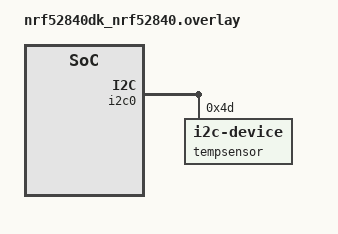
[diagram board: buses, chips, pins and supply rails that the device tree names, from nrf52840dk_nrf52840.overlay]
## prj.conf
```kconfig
CONFIG_CONSOLE=y
CONFIG_UART_CONSOLE=y
CONFIG_PRINTK=y
CONFIG_GPIO=y
CONFIG_I2C=y
CONFIG_CBPRINTF_FP_SUPPORT=y
CONFIG_TIMING_FUNCTIONS=y
CONFIG_SERIAL=y
CONFIG_UART_ASYNC_API=y
```

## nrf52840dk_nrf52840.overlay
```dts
// To get started, press Ctrl+Space to bring up the completion menu and view the available nodes.

// You can also use the buttons in the sidebar to perform actions on nodes.
// Actions currently available include:

// * Enabling / disabling the node
// * Adding the bus to a bus
// * Removing the node
// * Connecting ADC channels

// For more help, browse the DeviceTree documentation at https://docs.zephyrproject.org/latest/guides/dts/index.html
// You can also visit the nRF DeviceTree extension documentation at https://nrfconnect.github.io/vscode-nrf-connect/devicetree/nrfdevicetree.html


// end do tc74 -> 100 1101b 
/*
&i2c0 {
    tempsensor: tempsensor@4d{
        compatible = "i2c-device";
        reg = < 0x4d >;
        label = "TempSensor";
    };S
};*/
&i2c0 {  
    tempsensor: tempsensor@4d{
        compatible = "i2c-device";
        reg = < 0x4d >;
        label = "tempsensor";
    };
};
```

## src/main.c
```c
/** \file main.c
 *  \brief Implementaçao de um modulo simples de Input/Output sensor/atuador com envio
 * 	de comandos pela UART 
 * 
 * 
 *  O sistema implementa 5 Input, valor de tempearatura obtido através do sensor tc74 através de comunicaçao i2c com o mesmo e 4 butoes da placa 
 *  que permite ler o estado em que cada butao se encontra. Para a obtençao destes valores foram implementadas 2 threads periodicas, 
 *  1 para temperatura e outra para os butoes, que irão periodicamento ler o valor de cada intput.
 *  O sistema tem 4 saídas e para a alteraçao das saídas foi implementada 1 thread periodica que ira atribuir a cada saida um estado que eta  guardado numa variavel.
 *  Também foi implementado um comunicaçao via uart para a inserçao de comandos para alteraçao dos periodos de cada thread, comando do tipo #TXYYYY! ou #tXYYY!,
 *  onde X pode ser T/t para thread temperartura, L/t para thread leds ou B/b para thread butoes e YYYY sao qutro digitos de tempo em ms.
 *  e alteraçao do estado dos leds, comando do tipo #Lxy! ou #lxy! , em que é o led que pretendemos alterar estado e y o estado.
 *  
 * 
 * Base documentation:
 *  Zephyr kernel:  
 *      https://developer.nordicsemi.com/nRF_Connect_SDK/doc/latest/zephyr/kernel/services/index.html#kernel-services
 *      
 *  DeviceTree 
 *      Board DTS can be found in BUILD_DIR/zephyr/zephyr.dts
 *      https://developer.nordicsemi.com/nRF_Connect_SDK/doc/latest/zephyr/guides/dts/api-usage.html#dt-from-c  
 *
 *      HW info
 *      https://infocenter.nordicsemi.com/topic/struct_nrf52/struct/nrf52840.html
 *      Section: nRF52840 Product Specification -> Peripherals -> GPIO / GPIOTE
 * 
 *      Board specific HW info can be found in the nRF52840_DK_User_Guide_20201203. I/O pins available at pg 27
 * 
 * 
 *  \author Rodolfo Oliveira, NºMec: 88919
 *  \date 06/06/2023
 */
#include <zephyr/kernel.h>
#include <zephyr/device.h>
#include <zephyr/devicetree.h>
#include <zephyr/types.h>
#include <zephyr/drivers/gpio.h>
#include <zephyr/timing/timing.h>   /* for timing services */
#include <zephyr/drivers/uart.h>
#include <zephyr/drivers/i2c.h>
#include <zephyr/sys/printk.h>
#include <zephyr/sys/util.h>
#include <inttypes.h>


#define I2C0_NODE DT_NODELABEL(tempsensor)/**< definir o "node identifier" do sensor*/


#define mem_size 10/**< Numero de elementos de dados para guradar */


#define Receive_Buff_Size 10/**< Define the size of the UART receive buffer */

/*definir o tamanho da stcak e prioridade das threads*/
#define Stacksize 1024 /**< tamanho da stack da thread*/
#define thread_tempread_prio 3 /**< prioridade da thread tempread*/
#define thread_print_prio 3/**< prioridade da thread para print de valores*/
#define thread_but_prio 3/**< prioridade da thread dos butoes*/
#define thread_led_prio 3/**< prioridade da thread dos leds*/
#define thread_cmd_prio 4/**< prioridade da thread da cmd*/

// array com id dos butoes 
const uint8_t buttons_pins[] = { 11,12,24,25};
//array com id dos leds
const uint8_t leds_pins[] = { 13,14,15,16};


#define GPIO0_NODE DT_NODELABEL(gpio0)/**< Get node ID for GPIO0, which has leds and buttons */ 


static const struct device * gpio0_dev = DEVICE_DT_GET(GPIO0_NODE);/**< Now get the device pointer for GPIO0 */

/*definir periocidade das threads (em ms)*/
volatile int thread_tempread_period = 5000; /**< Periodo da thread tempread */
#define thread_print_period 1000 /**< periodo estatico da thread print de valores */
volatile int thread_but_period = 10;/**< periodo da thread dos butoes*/
volatile int thread_led_period = 1000;/**< periodo da thread dos leds*/
#define thread_cmd_period 1000/**< periodo estatico da thread dos comandos*/


/* criar espaço de memoria para cada thread*/
K_THREAD_STACK_DEFINE(thread_tempread_stack, Stacksize);/**< Criar espaço de memoria para a thread tempread*/
K_THREAD_STACK_DEFINE(thread_print_stack, Stacksize);/**< Criar espaço de memoria para a thread print*/
K_THREAD_STACK_DEFINE(thread_but_stack, Stacksize);/**< Criar espaço de memoria para a thread dos butoes*/
K_THREAD_STACK_DEFINE(thread_led_stack, Stacksize);/**< Criar espaço de memoria para a thread dos leds*/
K_THREAD_STACK_DEFINE(thread_cmd_stack, Stacksize);/**< Criar espaço de memoria para a thread dos comandos*/

/*criar variaveis para a inf de cada thread */
struct k_thread thread_tempread_data;/**< data da thread tempread*/
struct k_thread thread_print_data;/**< data da thread print*/
struct k_thread thread_but_data;/**< data da thread dos butoes*/
struct k_thread thread_led_data;/**< data da thread dos leds*/
struct k_thread thread_cmd_data;/**< data da thread dos comandos*/

/* criar id de tarefas*/
k_tid_t thread_tempread_tid;/**< ID da tarefa da thread tempread*/
k_tid_t thread_print_tid;/**< ID da tarefa da thread print*/
k_tid_t thread_but_tid;/**< ID da tarefa da thread dos butoes*/
k_tid_t thread_led_tid;/**< ID da tarefa da thread dos leds*/
k_tid_t thread_cmd_tid;/**< ID da tarefa da thread dos comandos*/

/* variaveis globais (shared memory) para comunicar entre tarefas*/
volatile int temp = 0; /**< Var para guardar valores de temperatura*/
volatile int but1 =0; /**< Var para guardar valor lido do estado do butao 1*/
volatile int but2 =0; /**< Var para guardar valor lido do estado do butao 2*/
volatile int but3 =0;/**< Var para guardar valor lido do estado do butao 3*/
volatile int but4 =0; /**< Var para guardar valor lido do estado do butao 4*/
volatile int led0_state =1;/**< Var para guardar estado do led 1*/
volatile int led1_state =1;/**< Var para guardar estado do led 2*/
volatile int led2_state =0;/**< Var para guardar estado do led 3*/
volatile int led3_state =0;/**< Var para guardar estado do led 4*/
volatile int cmd = 0;/**< Var para indicaçao de que foi inserido comando quando tem o valor 1*/
volatile int res = 1;

/**variaveis internas */
static unsigned char cmdLen = 0; 
int SOF_C = -1;
int EOF_C = -1;
static char cmdString[Receive_Buff_Size];

/** definir buffer de transmisao da uart que guarda o conteudo a transmitir pela uart*/
static uint8_t tx_buf[]= {""};
/** definir buffer de receçao*/
static uint8_t rx_buf[Receive_Buff_Size] = {0};

/** definir o tamanho do receive buffer da uart*/
#define Receive_Buff_Size 10

/** definir o periodo de timeout da uart*/
#define Receive_Timeout 100

/** uart node identifier*/
#define UART_NODE DT_NODELABEL(uart0)

/** obter a configuraçao dos butoes da devicetree com alias*/
static const struct gpio_dt_spec button1 = GPIO_DT_SPEC_GET_OR(DT_ALIAS(sw0), gpios,
							      {0});
static const struct gpio_dt_spec button2 = GPIO_DT_SPEC_GET_OR(DT_ALIAS(sw1), gpios,
							      {0});
static const struct gpio_dt_spec button3 = GPIO_DT_SPEC_GET_OR(DT_ALIAS(sw2), gpios,
							      {0});
static const struct gpio_dt_spec button4 = GPIO_DT_SPEC_GET_OR(DT_ALIAS(sw3), gpios,
							      {0});

/* prototipos de cada thread */
void thread_tempread_code(void *argA , void *argB, void *argC);
void thread_print_code(void *argA , void *argB, void *argC);
void thread_but_code(void *argA , void *argB, void *argC);
void thread_led_code(void *argA , void *argB, void *argC);
void thread_cmd_code(void *argA , void *argB, void *argC);

/*prototipos de funcoes */
void in_out_puts_config(void);
int CmdChar(unsigned char newChar);
static void uart_cb(const struct device *dev, struct uart_event *evt, void *user_data);
void resetcmd(void);
int cmdProcess(void);

int ret;
/** defifnir o registo config do sensor -> 0000 0000 */
uint8_t config = 0x00;

/** obter o device struct e verificar se esta operacional */
static const struct i2c_dt_spec dev_i2c = I2C_DT_SPEC_GET(I2C0_NODE);

/** Get the device pointer of the UART hardware */
const struct device *uart = DEVICE_DT_GET(UART_NODE);

/** definir estrutura de comandos e saidas possiveis */
#define MAX_CMDSTRING_SIZE 10   /**< tamanho maximo do comando */ 
#define SOF_SYM '#'             /**< Simbolo de inicio de comando */
#define EOF_SYM '!'             /**< Simbolo de fim de comando */
#define EXIT_SUCCESS    0;      /**< Successfull exit */
#define EMPTY_STRING   -1;      /**< String is empty */
#define STRING_FULL    -1;      /**< String is full */
#define CMD_NOT_FOUND  -2;      /**< Invalid CMD */
#define WRONG_STR_FORMAT -3;    /**< Wrong string format*/

/** \brief Funçao Main
 * 
 * Funçao main configura os devices I2C, inputs e outputs, e uart e cria as threads
 *
 */
void main(void)
{

	in_out_puts_config(); // config input and output pins

	/* checar devices */
	/*I2C*/
	if (!device_is_ready(dev_i2c.bus)) {
	printk("I2C bus %s is not ready!\n\r",dev_i2c.bus->name);
	return;
	}
	else{
		printk("I2C bus %s is ready!\n\r",dev_i2c.bus->name);
	}

	ret = i2c_write_dt(&dev_i2c, config, sizeof(config));
	if(ret != 0){
		printk("Failed to write to I2C device address %x at Reg. %x \n", dev_i2c.addr,config);
		return;
	}

	 /* UART */
    if (!device_is_ready(uart)) {
        printk("UART device not ready\r\n");
        return;
    }
	
	ret = uart_callback_set(uart, uart_cb, NULL);
    if (ret) {
		return;
	}
	/* Send the data over UART by calling uart_tx() */
	ret = uart_tx(uart, tx_buf, sizeof(tx_buf), SYS_FOREVER_MS);
    if (ret) {
		return;
	}

    /* Start receiving by calling uart_rx_enable() and pass it the address of the receive  buffer */
	ret = uart_rx_enable(uart ,rx_buf,sizeof rx_buf,Receive_Timeout);
	if (ret) {
		return;
	}

	/*iniciar funçoe de tempo*/
	
	timing_init();
	timing_start();
	 /* criar tarefas*/
	thread_tempread_tid = k_thread_create(&thread_tempread_data, thread_tempread_stack,
        K_THREAD_STACK_SIZEOF(thread_tempread_stack), thread_tempread_code,
        NULL, NULL, NULL, thread_tempread_prio, 0, K_NO_WAIT);

	thread_print_tid = k_thread_create(&thread_print_data, thread_print_stack,
        K_THREAD_STACK_SIZEOF(thread_print_stack), thread_print_code,
        NULL, NULL, NULL, thread_print_prio, 0, K_NO_WAIT);

	thread_but_tid = k_thread_create(&thread_but_data, thread_but_stack,
        K_THREAD_STACK_SIZEOF(thread_but_stack), thread_but_code,
        NULL, NULL, NULL, thread_but_prio, 0, K_NO_WAIT);

	thread_led_tid = k_thread_create(&thread_led_data, thread_led_stack,
        K_THREAD_STACK_SIZEOF(thread_led_stack), thread_led_code,
        NULL, NULL, NULL, thread_led_prio, 0, K_NO_WAIT);

	thread_cmd_tid = k_thread_create(&thread_cmd_data, thread_cmd_stack,
        K_THREAD_STACK_SIZEOF(thread_cmd_stack), thread_cmd_code,
        NULL, NULL, NULL, thread_cmd_prio, 0, K_NO_WAIT);
		
	resetcmd();	
	return;
}

/** \brief callback de interrupçao da uart
 * 
 * Funçao de interrupçao que guarda valores inserido pelo utilizador num buffer
 * até que seja primido enter
 * 
 * 
 */
static void uart_cb(const struct device *dev, struct uart_event *evt, void *user_data){
	int res = 1;
	switch (evt->type) {

	case UART_RX_RDY:
        if(evt->data.rx.len > 0){
            if(evt->data.rx.buf[evt->data.rx.offset] == '\r') { // espera que seja primido enter
                cmd = 1; // identifica que foi inserido um comando
                break;
            }
            res = CmdChar(evt->data.rx.buf[evt->data.rx.offset]);
        }
        break;

	case UART_RX_DISABLED:
		uart_rx_enable(dev ,rx_buf,sizeof rx_buf,Receive_Timeout);
		break;
		
	default:
		break;
    }
}
/** \brief Funçao para adicionar char introduzido pelo user num buffer 
 * ******************************** 
 * adiciona char á cmdString 	
 * \return 	0: if success 			         		        
 * \return -1: if cmd string full 	    
 * ******************************** 
 * */
int CmdChar(unsigned char newChar) {
	/* If cmd string not full add char to it */
	if (cmdLen < MAX_CMDSTRING_SIZE) {
		cmdString[cmdLen] = newChar;
		cmdLen ++;
		return EXIT_SUCCESS;
	}
	/* If cmd string full return error */
	return STRING_FULL;
}

/** \brief Funçao de reset do buffer de comandos
 * 
 * Resseta o buufer onde estao guardados o comandos bem como o valor de 
 * start of frame e end of frame
 * 
*/
void resetcmd(void) {
	cmdLen = 0;
	SOF_C = -1;
	EOF_C = -1;		
}

/** \brief Processa o cmdString que foi inserido para verificar comando 
 *                                                      
 * \return  0: comando valido e executado                         	    
 * \return	-1: string vazia ou comando incompleto                      
 * \return	-2: comando invalido encontrado                             
 * \return	-3: formato da string incorreto                             
 * ************************************************************ */
int cmdProcess(void){
	int i;
	/*encontrar simbolo inicial de comando e final de comando*/
	/* posiçao do primeiro #*/
	for(i=0;i<cmdLen;i++){
		if(cmdString[i] == '#'){
			SOF_C = i;
			break;
		}
	}
	/*identificar posicao do primeiro !*/
	for(i=0;i<cmdLen;i++){
		if(cmdString[i] == '!'){
			EOF_C = i;
			break;
		}
	}
	/* se encontrou primeiro ! do que #*/
	if(EOF_C < SOF_C){
		SOF_C = -1;
		EOF_C = -1;
	    return WRONG_STR_FORMAT;
	}
	/* se encontrou um # entre o primeiro # e !*/
	for(i=SOF_C+1;i<EOF_C;i++){
		if(cmdString[i] == '#'){
			return WRONG_STR_FORMAT;
		}
	}

	if(SOF_C == -1){
		return WRONG_STR_FORMAT;
	}
	if(EOF_C == -1){
		return WRONG_STR_FORMAT;
	}

	/* Detect empty cmd string */
	if(cmdLen == 0) {
		return EMPTY_STRING;
    } 
	/* ate aqui confirmo que tenho um comando do tipo #...! */
	/* detetar comandos*/
	/* comando para altera tempo(ms) das threads*/
	if(cmdString[SOF_C+1] == 'T' || cmdString[SOF_C+1] == 't'){
		if(cmdLen<8){
			return WRONG_STR_FORMAT;
		}
		for(i = SOF_C+3;i<EOF_C;i++){
			if(cmdString[i] < '0' || cmdString[i] > '9'){
				return CMD_NOT_FOUND;
			}
		}
		/* mudar periodo da thread dos leds*/
		if(cmdString[SOF_C+2] == 'L' || cmdString[SOF_C+2] == 'l'){
			if( (EOF_C - (SOF_C+3)) == 4){
				thread_led_period = (cmdString[SOF_C+3]-'0')*1000+(cmdString[SOF_C+4]-'0')*100+(cmdString[SOF_C+5]-'0')*10+(cmdString[SOF_C+6]-'0')*1;
				return EXIT_SUCCESS;
			}
			else{
				return CMD_NOT_FOUND;
			}
			return EXIT_SUCCESS;
		}
		/* mudar periodo da thread dos butoes*/
		else if(cmdString[SOF_C+2] == 'B' || cmdString[SOF_C+2] == 'b'){
			if( (EOF_C - (SOF_C+3)) == 4){
				thread_but_period = (cmdString[SOF_C+3]-'0')*1000+(cmdString[SOF_C+4]-'0')*100+(cmdString[SOF_C+5]-'0')*10+(cmdString[SOF_C+6]-'0')*1;
				return EXIT_SUCCESS;
			}
			else{
				return CMD_NOT_FOUND;
			}
			return EXIT_SUCCESS;
		}
		/* mudar periodo da thread da temp*/
		else if(cmdString[SOF_C+2] == 'T' || cmdString[SOF_C+2] == 't'){
			if( (EOF_C - (SOF_C+3)) == 4){
				thread_tempread_period = (cmdString[SOF_C+3]-'0')*1000+(cmdString[SOF_C+4]-'0')*100+(cmdString[SOF_C+5]-'0')*10+(cmdString[SOF_C+6]-'0')*1;
				return EXIT_SUCCESS;
			}
			else{
				return CMD_NOT_FOUND;
			}
		}
		return EXIT_SUCCESS;
	}
	/* verificar se é commando para alterar estado dos leds*/
	else if(cmdString[SOF_C+1] == 'L' || cmdString[SOF_C+1] == 'l'){
		/* tamanho deste tipo de comando é 5*/
		if((EOF_C - SOF_C) > 4 ){
			return CMD_NOT_FOUND;
		}
		else if(cmdString[SOF_C+2] < '0' || cmdString[SOF_C+2] > '3'){
			return CMD_NOT_FOUND;
		} 
		else if(cmdString[SOF_C+3] < '0' || cmdString[SOF_C+3] > '1'){
			return CMD_NOT_FOUND;
		} 
		else{
			if(cmdString[SOF_C+2] == '0'){
				led0_state = cmdString[SOF_C+3] - '0';
			}
			else if(cmdString[SOF_C+2] == '1'){
				led1_state = cmdString[SOF_C+3] - '0';
			}
			else if(cmdString[SOF_C+2] == '2'){
				led2_state = cmdString[SOF_C+3] - '0';
			}
			else if(cmdString[SOF_C+2] == '3'){
				led3_state = cmdString[SOF_C+3] - '0';
			}	
		}
		return EXIT_SUCCESS;
	}
	else{
		return CMD_NOT_FOUND;
	}
	return WRONG_STR_FORMAT;
}

/** \brief Thread de leitura da temperatura
 * 
 * Esta thread implementa comunicaçao I2C com o sensor tc74 para retirar amostras do valor da temperatura
 * Esta thread é periodica e o seu periodo pode ser alterado pela introduçao de um comando
 * 
 * 
*/
void thread_tempread_code(void *argA , void *argB, void *argC){

	/* Timing variables to control task periodicity */
    int64_t fin_time=0, release_time=0;

	printk("Thread tempread init (periodic)\n");

	/* Compute next release instant */
    release_time = k_uptime_get() + thread_tempread_period;

	while(1){
		//int temp_sinal =0; /* sinal da temperatura lida, 0- positivo, 1-negativo*/
		uint8_t temp_reading;
		ret = i2c_read_dt(&dev_i2c, &temp_reading, sizeof(temp_reading));
		if(ret != 0){
			printk("Failed to write/read I2C device address %x at Reg. %x \r\n", dev_i2c.addr,config);
		}

		if(temp_reading >= 128){
			// temperatura negativa
			temp = -256 + temp_reading; // guardar o valor da temperatura no buffer de dados
		}
		else{
			//temperatura positiva
			temp = temp_reading; // guardar o valor da temperatura no buffer de dados
		}

		/* Wait for next release instant */ 
        fin_time = k_uptime_get();
        if( fin_time < release_time) {
            k_msleep(release_time - fin_time); /* There are other variants, k_sleep(), k_usleep(), ... */
            release_time += thread_tempread_period;
		}
	}
	timing_stop();
}
/** \brief Thread de Print dos valores de temperatura, estado dos leds e butoes e periodo correspondente a cada thread
 * 
 * Esta thread imprime os valores das variaveis que contêm o valor da temperatura e estados dos butoes e leds e 
 * periodo respetivo de cada thread, tempread, butoes e leds
 * Esta thread é periodica e o seu periodo é estatico
 * 
 * 
*/
void thread_print_code(void *argA , void *argB, void *argC){
	/* Timing variables to control task periodicity */
    int64_t fin_time=0, release_time=0;

	printk("Thread print init (periodic)\n");

	/* Compute next release instant */
    release_time = k_uptime_get() + thread_print_period;

	while(1){
		
		printk("%d  ",temp);
		printk("\n");
		printk("Temp Period: %d  ",thread_tempread_period);
		printk("\n");
		
		printk("%d ",but1);
		printk("%d ",but2);
		printk("%d ",but3);
		printk("%d ",but4);
		printk("\n");
		printk("But Period: %d  ",thread_but_period);
		printk("\n");

		printk("%d ",led0_state);
		printk("%d ",led1_state);
		printk("%d ",led2_state);
		printk("%d ",led3_state);
		printk("\n");
		printk("Led Period: %d  ",thread_led_period);
		printk("\n");
		printk("\n");		
		/* Wait for next release instant */ 
    	fin_time = k_uptime_get();
    	if( fin_time < release_time) {
        	k_msleep(release_time - fin_time); /* There are other variants, k_sleep(), k_usleep(), ... */
        	release_time += thread_print_period;
		}
	}
	timing_stop();
}

/** \brief Thread de leitura do estado dos butoes
 * 
 * Esta thread implementa a leitura do estado dos pinos correspondente a cada 1 dos 4 butoes existentes na placa
 * Esta thread é periodica e o seu periodo pode ser alterado pela introduçao de um comando
 * 
 * 
*/
void thread_but_code(void *argA , void *argB, void *argC){

	/* Timing variables to control task periodicity */
    int64_t fin_time=0, release_time=0;

	printk("Thread tempread init (periodic)\n");

	/* Compute next release instant */
    release_time = k_uptime_get() + thread_but_period;

	while(1){
		
		but1 = gpio_pin_get_dt(&button1);
		but2 = gpio_pin_get_dt(&button2);
		but3 = gpio_pin_get_dt(&button3);
		but4 = gpio_pin_get_dt(&button4);

		/* Wait for next release instant */ 
        fin_time = k_uptime_get();
        if( fin_time < release_time) {
            k_msleep(release_time - fin_time); /* There are other variants, k_sleep(), k_usleep(), ... */
            release_time += thread_but_period;
		}
	}
	timing_stop();
}

/** \brief Thread de verificaçao/alteraçao do estado dos leds
 * 
 * Esta thread implementa a verificaçao se o estados dos led, output, precisa de ser alterado.
 * O estado dos leds pode ser alterado atraves da inserçao de comando via uart.
 * Esta thread é periodica e o seu periodo pode ser alterado pela introduçao de um comando
 * 
 * 
*/
void thread_led_code(void *argA , void *argB, void *argC){

	/* Timing variables to control task periodicity */
    int64_t fin_time=0, release_time=0;

	printk("Thread tempread init (periodic)\n");

	/* Compute next release instant */
    release_time = k_uptime_get() + thread_led_period;
	
	while(1){
		gpio_pin_set(gpio0_dev,leds_pins[0], led0_state);
		gpio_pin_set(gpio0_dev,leds_pins[1], led1_state);
		gpio_pin_set(gpio0_dev,leds_pins[2], led2_state);
		gpio_pin_set(gpio0_dev,leds_pins[3], led3_state);

		/* Wait for next release instant */ 
        fin_time = k_uptime_get();
        if( fin_time < release_time) {
            k_msleep(release_time - fin_time); /* There are other variants, k_sleep(), k_usleep(), ... */
            release_time += thread_led_period;
		}
	}
	timing_stop();
}

/** \brief Thread de leitura da temperatura
 * 
 * Esta thread implementa a verificaçao se foi inserido um comando
 * e se o mesmo corresponde a um comando correto para a alteraçao do periodo das threads
 * ou alteraçao do estado dos leds.
 * Nesta implementaçao nao está disponivel a identificaçao de todas as possibilidades
 * de comandos mal inseridos, somente permite identificar os casos mais comuns de comando errados 
 * e verificar se mesmo a estrutura do comando esteja correta mas um dos char inserido nao for o esperado identifica 
 * como comando invalido
 * Esta thread é periodica e o seu periodo é estatico
 * 
*/
void thread_cmd_code(void *argA , void *argB, void *argC){

	/* Timing variables to control task periodicity */
    int64_t fin_time=0, release_time=0;

	printk("Thread tempread init (periodic)\n");

	/* Compute next release instant */
    release_time = k_uptime_get() + thread_cmd_period;

	while(1){
		
		if(cmd){
			res = cmdProcess();
			printk("\n\rcmdProcess output: %d\n\r", res);
			resetcmd();
			cmd=0;
		}

		/* Wait for next release instant */ 
        fin_time = k_uptime_get();
        if( fin_time < release_time) {
            k_msleep(release_time - fin_time); /* There are other variants, k_sleep(), k_usleep(), ... */
            release_time += thread_cmd_period;
		}
	}
	timing_stop();
}

/** \brief Configuraçao dos butoes
 * 
 *
 * 
*/
void in_out_puts_config(void){
	
	/* configurar butoes da placa */
	//uint32_t pinmask = 0; /* Mask for setting the pins that shall generate interrupts */
	for(int i=0; i<sizeof(buttons_pins); i++) {
		ret = gpio_pin_configure(gpio0_dev, buttons_pins[i], GPIO_INPUT | GPIO_PULL_UP);
		if (ret < 0) {
			printk("Error: gpio_pin_configure failed for button %d/pin %d, error:%d\n\r", i+1,buttons_pins[i], ret);
			return;
		} else {
			printk("Success: gpio_pin_configure for button %d/pin %d\n\r", i+1,buttons_pins[i]);
		}
	}

	/* configurar leds da placa */
	for(int i=0; i<sizeof(leds_pins); i++) {
		ret = gpio_pin_configure(gpio0_dev, leds_pins[i], GPIO_OUTPUT);
		if (ret < 0) {
			printk("Error: gpio_pin_configure failed for button %d/pin %d, error:%d\n\r", i+1,leds_pins[i], ret);
			return;
		} else {
			printk("Success: gpio_pin_configure for button %d/pin %d\n\r", i+1,leds_pins[i]);
		}
	}

}
```
